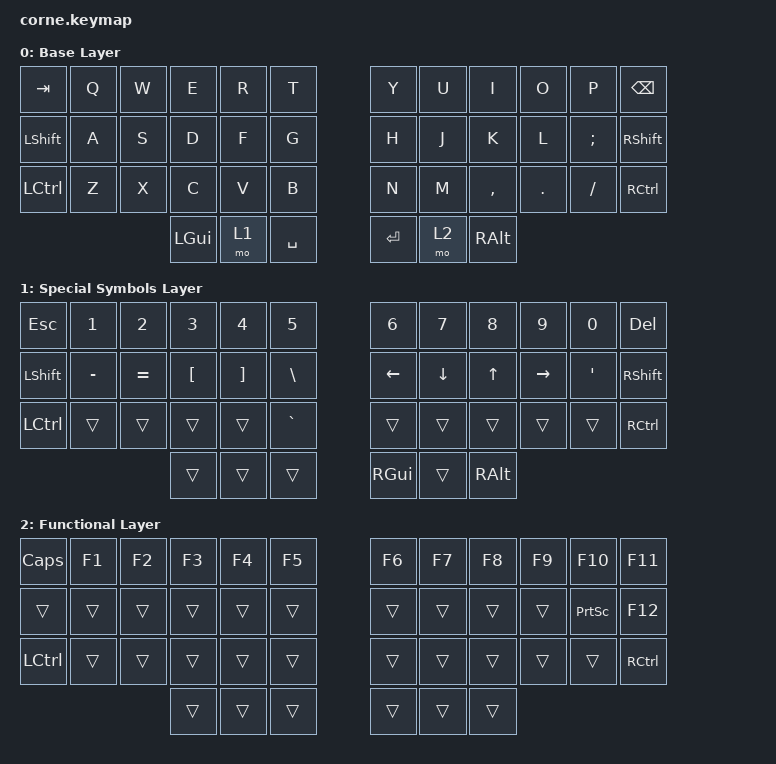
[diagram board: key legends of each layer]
#include <dt-bindings/led/led.h>

/* 1. Configure the SPI pin for the LEDs (nice_nano_v2 MOSI pin is P0.06) */

&pinctrl {
    spi3_default: spi3_default {
        group1 { psels = <NRF_PSEL(SPIM_MOSI, 0, 6)>; };
    };

    spi3_sleep: spi3_sleep {
        group1 {
            psels = <NRF_PSEL(SPIM_MOSI, 0, 6)>;
            low-power-enable;
        };
    };
};

&spi3 {
    compatible = "nordic,nrf-spim";
    status = "okay";
    pinctrl-0 = <&spi3_default>;
    pinctrl-1 = <&spi3_sleep>;
    pinctrl-names = "default", "sleep";

    led_strip: ws2812@0 {
        compatible = "worldsemi,ws2812-spi";
        reg = <0>;
        spi-max-frequency = <4000000>;
        chain-length = <27>;
        spi-one-frame = <0x70>;
        spi-zero-frame = <0x40>;
        color-mapping = <LED_COLOR_ID_GREEN LED_COLOR_ID_RED LED_COLOR_ID_BLUE>;
    };
};

/* 2. Tell ZMK to use this LED strip for underglow */

/ {
    chosen { zmk,underglow = &led_strip; };
};

#include <behaviors.dtsi>
#include <dt-bindings/zmk/keys.h>

/ {
    keymap {
        compatible = "zmk,keymap";

        base {
            display-name = "Base Layer";

            // -----------------------------------------------------------------------------------------
            // |  TAB |  Q  |  W  |  E  |  R  |  T  |   |  Y  |  U  |  I  |  O  |  P  | BSPC |
            // | CTRL |  A  |  S  |  D  |  F  |  G  |   |  H  |  J  |  K  |  L  |  ;  |  '   |
            // | SHFT |  Z  |  X  |  C  |  V  |  B  |   |  N  |  M  |  ,  |  .  |  /  | ESC  |
            //                  | GUI | LWR | SPC |   | ENT | RSE | ALT |

            bindings = <
&kp TAB     &kp Q  &kp W  &kp E     &kp R  &kp T        &kp Y      &kp U  &kp I      &kp O    &kp P     &kp BSPC
&kp LSHIFT  &kp A  &kp S  &kp D     &kp F  &kp G        &kp H      &kp J  &kp K      &kp L    &kp SEMI  &kp RSHFT
&kp LCTRL   &kp Z  &kp X  &kp C     &kp V  &kp B        &kp N      &kp M  &kp COMMA  &kp DOT  &kp FSLH  &kp RCTRL
                          &kp LGUI  &mo 1  &kp SPACE    &kp ENTER  &mo 2  &kp RALT
            >;
        };

        spec {
            display-name = "Special Symbols Layer";

            // -----------------------------------------------------------------------------------------
            // |      |  1  |  2  |  3  |  4  |  5  |   |  6  |  7  |  8  |  9  |  0  | BSPC |
            // |  :   |  "  |  <  |  >  |  ?  |  ~  |   | LFT | DWN |  UP | RGT | DEL | RGB  |
            // |      |  !  |  @  |  #  |  $  |  %  |   |  ^  |  &  |  *  |  (  |  )  | RST  |
            //                  |     |     |     |   |     |     |     |

            bindings = <
&kp ESC    &kp N1     &kp N2     &kp N3            &kp N4             &kp N5           &kp N6    &kp N7    &kp N8    &kp N9     &kp N0   &kp DELETE
&kp LSHFT  &kp MINUS  &kp EQUAL  &kp LEFT_BRACKET  &kp RIGHT_BRACKET  &kp BACKSLASH    &kp LEFT  &kp DOWN  &kp UP    &kp RIGHT  &kp SQT  &kp RSHIFT
&kp LCTRL  &trans     &trans     &trans            &trans             &kp GRAVE        &trans    &trans    &trans    &trans     &trans   &kp RCTRL
                                 &trans            &trans             &trans           &kp RGUI  &trans    &kp RALT
            >;
        };

        func {
            display-name = "Functional Layer";

            // -----------------------------------------------------------------------------------------
            // |      | F1  | F2  | F3  | F4  | F5  |   | F6  | F7  | F8  | F9  | F10 | F11  |
            // |      | CUT | COPY|PASTE|     |     |   | HOME| PGDN| PGUP| END |     | F12  |
            // |      |  _  |  +  |  {  |  }  |  |  |   |  -  |  =  |  [  |  ]  |  \  |  `   |
            //                  |     |     |     |   |     |     |     |

            bindings = <
&kp CAPS   &kp F1  &kp F2  &kp F3  &kp F4  &kp F5    &kp F6  &kp F7  &kp F8  &kp F9  &kp F10          &kp F11
&trans     &trans  &trans  &trans  &trans  &trans    &trans  &trans  &trans  &trans  &kp PRINTSCREEN  &kp F12
&kp LCTRL  &trans  &trans  &trans  &trans  &trans    &trans  &trans  &trans  &trans  &trans           &kp RCTRL
                           &trans  &trans  &trans    &trans  &trans  &trans
            >;
        };
    };
};
